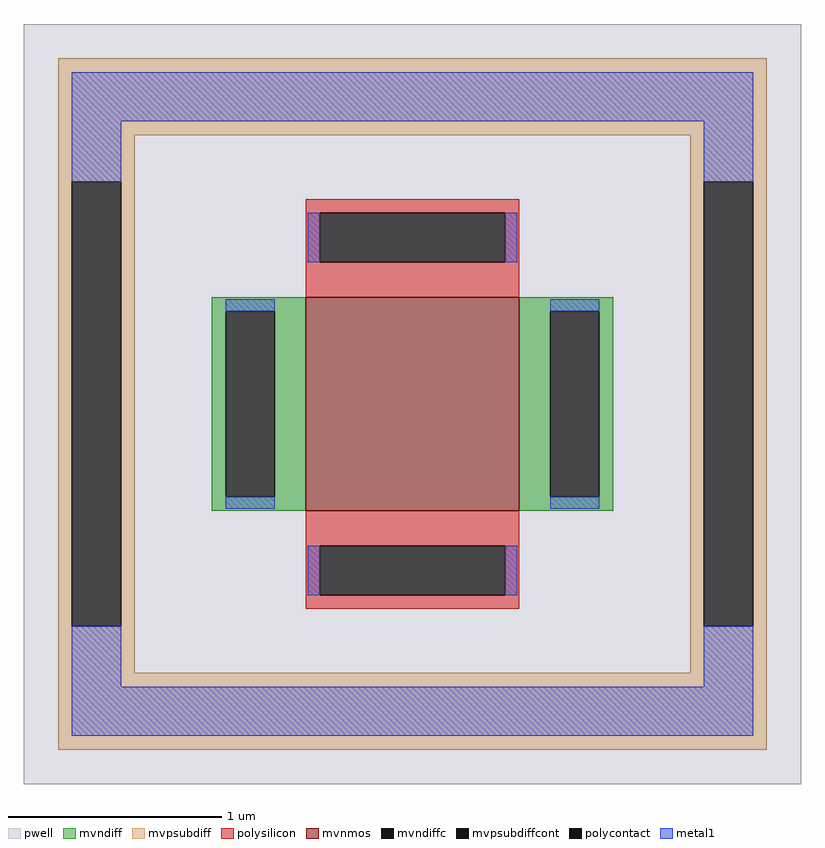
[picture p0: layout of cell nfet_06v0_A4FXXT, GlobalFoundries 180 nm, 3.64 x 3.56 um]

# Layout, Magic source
magic
tech gf180mcuD
magscale 1 10
<< pwell >>
rect -364 -356 364 356
<< mvnmos >>
rect -100 -100 100 100
<< mvndiff >>
rect -188 87 -100 100
rect -188 -87 -175 87
rect -129 -87 -100 87
rect -188 -100 -100 -87
rect 100 87 188 100
rect 100 -87 129 87
rect 175 -87 188 87
rect 100 -100 188 -87
<< mvndiffc >>
rect -175 -87 -129 87
rect 129 -87 175 87
<< mvpsubdiff >>
rect -332 252 332 324
rect -332 208 -260 252
rect -332 -208 -319 208
rect -273 -208 -260 208
rect 260 208 332 252
rect -332 -252 -260 -208
rect 260 -208 273 208
rect 319 -208 332 208
rect 260 -252 332 -208
rect -332 -324 332 -252
<< mvpsubdiffcont >>
rect -319 -208 -273 208
rect 273 -208 319 208
<< polysilicon >>
rect -100 179 100 192
rect -100 133 -87 179
rect 87 133 100 179
rect -100 100 100 133
rect -100 -133 100 -100
rect -100 -179 -87 -133
rect 87 -179 100 -133
rect -100 -192 100 -179
<< polycontact >>
rect -87 133 87 179
rect -87 -179 87 -133
<< metal1 >>
rect -319 265 319 311
rect -319 208 -273 265
rect 273 208 319 265
rect -98 133 -87 179
rect 87 133 98 179
rect -175 87 -129 98
rect -175 -98 -129 -87
rect 129 87 175 98
rect 129 -98 175 -87
rect -98 -179 -87 -133
rect 87 -179 98 -133
rect -319 -265 -273 -208
rect 273 -265 319 -208
rect -319 -311 319 -265
<< properties >>
string FIXED_BBOX -296 -288 296 288
string gencell nfet_06v0
string library gf180mcu
string parameters w 1.0 l 1.0 m 1 nf 1 diffcov 100 polycov 100 guard 1 glc 1 grc 1 gtc 0 gbc 0 tbcov 100 rlcov 100 topc 1 botc 1 poverlap 0 doverlap 1 lmin 0.6 wmin 0.3 class mosfet full_metal 1 compatible {nfet_03v3 nfet_05v0 nfet_06v0 nfet_06v0_nvt} ad {int((nf+1)/2) * W/nf * 0.18u} as {int((nf+2)/2) * W/nf * 0.18u} pd {2*int((nf+1)/2) * (W/nf + 0.18u)} ps {2*int((nf+2)/2) * (W/nf + 0.18u)} nrd {0.18u / W} nrs {0.18u / W} sa 0 sb 0 sd 0
<< end >>
